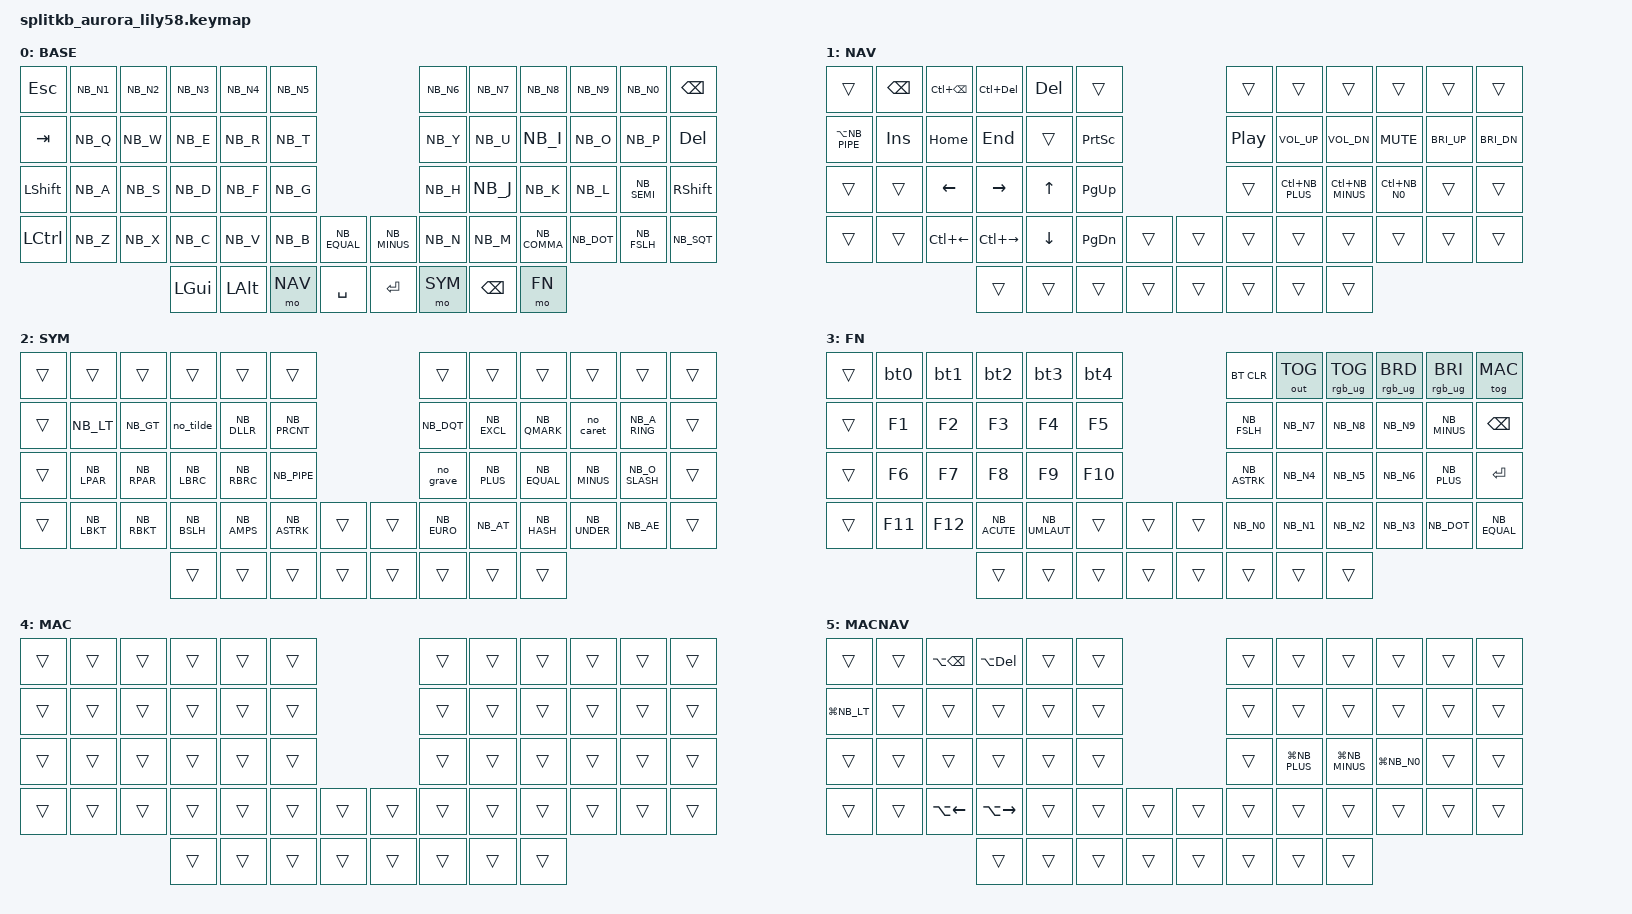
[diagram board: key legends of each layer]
/*
 * Aurora Lily58 - Børge's dev keymap
 *
 * OS keyboard layout on every host: Norwegian (Bokmål).
 * Symbols are emitted through the NB_ key codes from zmk-locales, so the
 * firmware sends the Norwegian scancode (incl. AltGr combos) for each symbol.
 *
 * Layers: 0 BASE  1 NAV  2 SYM  3 FN  4 MAC  5 MAC_NAV (NAV + MAC, automatic)
 *
 * Cross-OS rule: inner left thumb + Tab switches apps everywhere
 * (Alt+Tab on Windows/Linux, Cmd+Tab on macOS). The MAC layer turns on with
 * Bluetooth profile 1 (FN+1) and off with profiles 2-5.
 *
 * Visual map: docs/keymap.html
 * The Keebio Iris rev7 (QMK) in qmk/ shares all layers except the thumb row.
 */

#include <behaviors.dtsi>
#include <dt-bindings/zmk/keys.h>
#include <dt-bindings/zmk/bt.h>
#include <dt-bindings/zmk/outputs.h>
#include <dt-bindings/zmk/rgb.h>
#include <locale/keys_nb.h>

#define BASE 0
#define NAV  1
#define SYM  2
#define FN   3
#define MAC  4
#define MAC_NAV 5

/ {
    behaviors {
        tog_on: tog_on {
            compatible = "zmk,behavior-toggle-layer";
            #binding-cells = <1>;
            toggle-mode = "on";
        };
        tog_off: tog_off {
            compatible = "zmk,behavior-toggle-layer";
            #binding-cells = <1>;
            toggle-mode = "off";
        };
    };

    conditional_layers {
        compatible = "zmk,conditional-layers";
        mac_nav {
            if-layers = <NAV MAC>;
            then-layer = <MAC_NAV>;
        };
    };

    macros {
        /* Dead keys on the Norwegian layout: send the key, then a space, so the plain symbol comes out. */
        no_tilde: no_tilde {
            compatible = "zmk,behavior-macro";
            #binding-cells = <0>;
            wait-ms = <10>;
            tap-ms = <10>;
            bindings = <&kp NB_TILDE>, <&kp SPACE>;
        };
        no_caret: no_caret {
            compatible = "zmk,behavior-macro";
            #binding-cells = <0>;
            wait-ms = <10>;
            tap-ms = <10>;
            bindings = <&kp NB_CARET>, <&kp SPACE>;
        };
        no_grave: no_grave {
            compatible = "zmk,behavior-macro";
            #binding-cells = <0>;
            wait-ms = <10>;
            tap-ms = <10>;
            bindings = <&kp NB_GRAVE>, <&kp SPACE>;
        };

        /* Host switch: select the Bluetooth profile, set the underglow to that host's colour,
         * and turn the MAC layer on (profile 1 = Mac) or off (2-5). */
        bt0: bt0 {
            compatible = "zmk,behavior-macro";
            #binding-cells = <0>;
            bindings = <&bt BT_SEL 0>, <&rgb_ug RGB_COLOR_HSB(0,100,20)>, <&tog_on MAC>;     /* red, Mac */
        };
        bt1: bt1 {
            compatible = "zmk,behavior-macro";
            #binding-cells = <0>;
            bindings = <&bt BT_SEL 1>, <&rgb_ug RGB_COLOR_HSB(120,100,20)>, <&tog_off MAC>;   /* green */
        };
        bt2: bt2 {
            compatible = "zmk,behavior-macro";
            #binding-cells = <0>;
            bindings = <&bt BT_SEL 2>, <&rgb_ug RGB_COLOR_HSB(240,100,20)>, <&tog_off MAC>;   /* blue */
        };
        bt3: bt3 {
            compatible = "zmk,behavior-macro";
            #binding-cells = <0>;
            bindings = <&bt BT_SEL 3>, <&rgb_ug RGB_COLOR_HSB(60,100,20)>, <&tog_off MAC>;   /* yellow */
        };
        bt4: bt4 {
            compatible = "zmk,behavior-macro";
            #binding-cells = <0>;
            bindings = <&bt BT_SEL 4>, <&rgb_ug RGB_COLOR_HSB(280,100,20)>, <&tog_off MAC>;   /* purple */
        };
    };

    combos {
        compatible = "zmk,combos";
        /* Both shifts together: Caps Word, for ENV_VARS and CONSTANTS. */
        combo_caps_word {
            timeout-ms = <50>;
            key-positions = <24 35>;
            bindings = <&caps_word>;
        };
    };

    keymap {
        compatible = "zmk,keymap";

        base_layer {
            display-name = "BASE";
// ------------------------------------------------------------------------------------------------------------
// |  ESC  |  1  |  2  |  3   |  4   |  5   |                   |  6   |  7    |  8    |  9   |   0   | BSPC  |
// |  TAB  |  Q  |  W  |  E   |  R   |  T   |                   |  Y   |  U    |  I    |  O   |   P   |  DEL  |
// | SHIFT |  A  |  S  |  D   |  F   |  G   |                   |  H   |  J    |  K    |  L   |   ;   | SHIFT |
// | CTRL  |  Z  |  X  |  C   |  V   |  B   |   =    |  |   -   |  N   |  M    |  ,    |  .   |   /   |   '   |
//                     | GUI  | ALT  | NAV  |  SPACE |  | ENTER | SYM  | BSPC  |  FN   |
            bindings = <
&kp ESC   &kp NB_N1 &kp NB_N2 &kp NB_N3 &kp NB_N4 &kp NB_N5                               &kp NB_N6 &kp NB_N7 &kp NB_N8    &kp NB_N9  &kp NB_N0   &kp BSPC
&kp TAB   &kp NB_Q  &kp NB_W  &kp NB_E  &kp NB_R  &kp NB_T                                &kp NB_Y  &kp NB_U  &kp NB_I     &kp NB_O   &kp NB_P    &kp DEL
&kp LSHFT &kp NB_A  &kp NB_S  &kp NB_D  &kp NB_F  &kp NB_G                                &kp NB_H  &kp NB_J  &kp NB_K     &kp NB_L   &kp NB_SEMI &kp RSHFT
&kp LCTRL &kp NB_Z  &kp NB_X  &kp NB_C  &kp NB_V  &kp NB_B  &kp NB_EQUAL     &kp NB_MINUS &kp NB_N  &kp NB_M  &kp NB_COMMA &kp NB_DOT &kp NB_FSLH &kp NB_SQT
                              &kp LGUI  &kp LALT  &mo NAV   &kp SPACE        &kp RET      &mo SYM   &kp BSPC  &mo FN
            >;
        };

        nav_layer {
            display-name = "NAV";
// ------------------------------------------------------------------------------------------------------------
// |       | BSPC|DELW<|DELW> | DEL  |      |                   |      |       |       |      |       |       |
// |  WIN  | INS |HOME | END  |      | PRTSC|                   | PLAY | VOL+  | VOL-  | MUTE | BRI+  | BRI-  |
// |       |     |  <- |  ->  |  ^   | PGUP |                   |      | ZOOM+ | ZOOM- | ZOOM0|       |       |
// |       |     |WORD<|WORD> |  v   | PGDN |        |  |       |      |       |       |      |       |       |
//                     |      |      | HELD |        |  |       |      |       |       |
// Arrows on the left hand so the right hand can stay on the mouse. Shift/Ctrl on the left pinky column pass through.
// DELW< / DELW> = delete word left / right (Ctrl+Backspace, Ctrl+Del). WORD< / WORD> = jump a word (Ctrl+arrow).
// WIN = next window of the same app (Alt+` on Linux/GNOME, Cmd+< on macOS via MAC_NAV)
            bindings = <
&trans          &kp BSPC &kp LC(BSPC) &kp LC(DEL)   &kp DEL   &trans                       &trans   &trans           &trans            &trans         &trans       &trans
&kp LA(NB_PIPE) &kp INS  &kp HOME     &kp END       &trans    &kp PSCRN                    &kp C_PP &kp C_VOL_UP     &kp C_VOL_DN      &kp C_MUTE     &kp C_BRI_UP &kp C_BRI_DN
&trans          &trans   &kp LEFT     &kp RIGHT     &kp UP    &kp PG_UP                    &trans   &kp LC(NB_PLUS)  &kp LC(NB_MINUS)  &kp LC(NB_N0)  &trans       &trans
&trans          &trans   &kp LC(LEFT) &kp LC(RIGHT) &kp DOWN  &kp PG_DN &trans    &trans   &trans   &trans           &trans            &trans         &trans       &trans
                                      &trans        &trans    &trans    &trans    &trans   &trans   &trans           &trans
            >;
        };

        sym_layer {
            display-name = "SYM";
// ------------------------------------------------------------------------------------------------------------
// |       |     |     |      |      |      |                   |      |       |       |      |       |       |
// |       |  <  |  >  |  ~   |  $   |  %   |                   |  "   |   !   |   ?   |  ^   |   Å   |       |
// |       |  (  |  )  |  {   |  }   |  |   |                   |  `   |   +   |   =   |  -   |   Ø   |       |
// |       |  [  |  ]  |  \   |  &   |  *   |        |  |       |  €   |   @   |   #   |  _   |   Æ   |       |
//                     |      |      |      |        |  |       | HELD |       |       |
// Bracket pairs on resting finger pairs: < > above ( ) on Q W / A S, { } on D F, [ ] on Z X.
// Right home row: ` + = - from the inner reach outward, _ under the -. " ! ? ^ on Y U I O, € @ # on N M and the , key.
// Å Ø Æ in one column under 0 (P ; /). Outer right column free.
            bindings = <
&trans &trans      &trans      &trans      &trans      &trans                           &trans     &trans      &trans       &trans       &trans         &trans
&trans &kp NB_LT   &kp NB_GT   &no_tilde   &kp NB_DLLR &kp NB_PRCNT                     &kp NB_DQT  &kp NB_EXCL &kp NB_QMARK &no_caret    &kp NB_A_RING  &trans
&trans &kp NB_LPAR &kp NB_RPAR &kp NB_LBRC &kp NB_RBRC &kp NB_PIPE                      &no_grave   &kp NB_PLUS &kp NB_EQUAL &kp NB_MINUS &kp NB_O_SLASH &trans
&trans &kp NB_LBKT &kp NB_RBKT &kp NB_BSLH &kp NB_AMPS &kp NB_ASTRK &trans     &trans   &kp NB_EURO &kp NB_AT   &kp NB_HASH  &kp NB_UNDER &kp NB_AE      &trans
                               &trans      &trans      &trans       &trans     &trans   &trans     &trans      &trans
            >;
        };

        fn_layer {
            display-name = "FN";
// ------------------------------------------------------------------------------------------------------------
// |       | BT1 | BT2 | BT3  | BT4  | BT5  |                   |BTCLR |USB/BT | LED   | LED- | LED+  |  MAC  |
// |       | F1  | F2  | F3   | F4   | F5   |                   |  /   |   7   |   8   |  9   |   -   | BSPC  |
// |       | F6  | F7  | F8   | F9   | F10  |                   |  *   |   4   |   5   |  6   |   +   | ENTER |
// |       | F11 | F12 |  ´   |  ¨   |      |        |  |       |  0   |   1   |   2   |  3   |   .   |   =   |
//                     |      |      |      |        |  |       |      |       |       | HELD |
// BT1 is the Mac: it also turns the MAC layer on; BT2-5 turn it off. MAC toggles it by hand.
// Numpad sends plain digits, not keypad codes, so it works regardless of NumLock on Windows/Linux.
// ´ and ¨ are the Norwegian dead keys for accents: ´ then e = é, ¨ then u = ü.
            bindings = <
&trans &bt0    &bt1    &bt2         &bt3          &bt4                         &bt BT_CLR   &out OUT_TOG &rgb_ug RGB_TOG &rgb_ug RGB_BRD &rgb_ug RGB_BRI &tog MAC
&trans &kp F1  &kp F2  &kp F3       &kp F4        &kp F5                       &kp NB_FSLH  &kp NB_N7    &kp NB_N8       &kp NB_N9       &kp NB_MINUS    &kp BSPC
&trans &kp F6  &kp F7  &kp F8       &kp F9        &kp F10                      &kp NB_ASTRK &kp NB_N4    &kp NB_N5       &kp NB_N6       &kp NB_PLUS     &kp RET
&trans &kp F11 &kp F12 &kp NB_ACUTE &kp NB_UMLAUT &trans  &trans      &trans   &kp NB_N0    &kp NB_N1    &kp NB_N2       &kp NB_N3       &kp NB_DOT      &kp NB_EQUAL
                       &trans       &trans        &trans  &trans      &trans   &trans       &trans       &trans
            >;
        };

        mac_layer {
            display-name = "MAC";
            /*
             * On with Bluetooth profile 1 (or FN + MAC by hand). The thumbs keep
             * their order: the outer GUI key is Cmd on macOS, the ALT key is Opt,
             * the pinky stays Ctrl. This layer is a flag: with NAV held it enables
             * MAC_NAV, which swaps the OS-specific NAV keys to Cmd/Opt combos.
             * TODO: the Norwegian macOS layout uses different Option combos for
             * @ $ { } [ ] | \ than Windows/Linux; add a mac SYM layer when needed.
             */
            bindings = <
&trans &trans &trans &trans &trans &trans                        &trans &trans &trans &trans &trans &trans
&trans &trans &trans &trans &trans &trans                        &trans &trans &trans &trans &trans &trans
&trans &trans &trans &trans &trans &trans                        &trans &trans &trans &trans &trans &trans
&trans &trans &trans &trans &trans &trans &trans       &trans    &trans &trans &trans &trans &trans &trans
                     &trans &trans &trans &trans       &trans    &trans &trans &trans
            >;
        };

        mac_nav_layer {
            display-name = "MACNAV";
            /* NAV while MAC is on: Cmd/Opt versions of the OS-specific NAV keys, same positions as NAV. */
            bindings = <
&trans        &trans &kp LA(BSPC) &kp LA(DEL)   &trans &trans                       &trans &trans          &trans           &trans        &trans &trans
&kp LG(NB_LT) &trans &trans       &trans        &trans &trans                       &trans &trans          &trans           &trans        &trans &trans
&trans        &trans &trans       &trans        &trans &trans                       &trans &kp LG(NB_PLUS) &kp LG(NB_MINUS) &kp LG(NB_N0) &trans &trans
&trans        &trans &kp LA(LEFT) &kp LA(RIGHT) &trans &trans &trans      &trans    &trans &trans          &trans           &trans        &trans &trans
                                  &trans        &trans &trans &trans      &trans    &trans &trans          &trans
            >;
        };
    };
};
